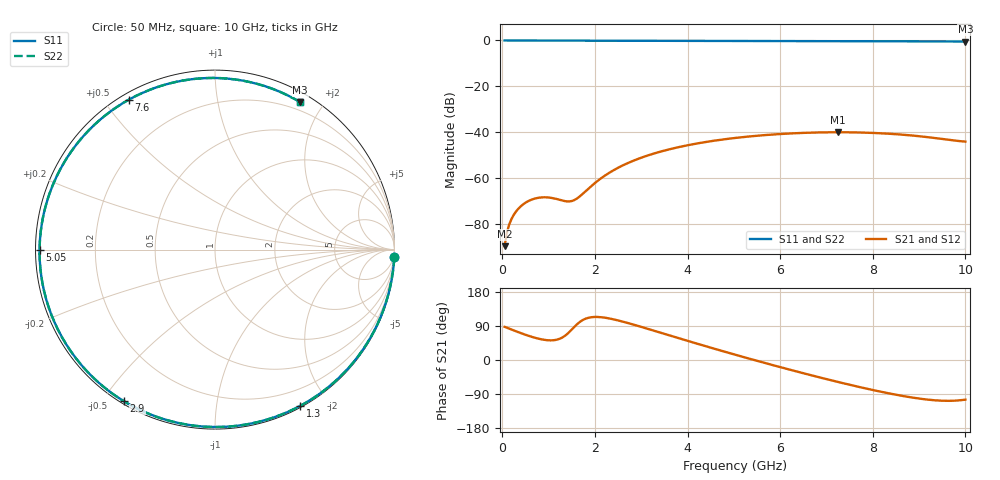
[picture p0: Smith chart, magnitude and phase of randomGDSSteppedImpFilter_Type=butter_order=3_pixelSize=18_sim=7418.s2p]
! freq	dB(S11)	phase(S11)	dB(S12)	phase(S12)
!  dB(S21)	phase(S21)	dB(S22)	phase(S22)
!S-par simulation data
#  GHz  S  DB  R 50
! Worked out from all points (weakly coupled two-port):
!   200 points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, 50 MHz to 10 GHz, reference 50 ohm
!   highest |S21| = -39.91 dB at 7.25 GHz (marker M1); lowest = -89.4 dB at 50 MHz (marker M2)
!   lowest |S11| = -0.5 dB at 10 GHz (marker M3), VSWR 37.99, Z = 5.26 + j86.4 ohm
!   |S11| at or under -10 dB: nowhere
!   |S22| runs from -0.5 to 0.0 dB; largest |S21 - S12| = 0
!   S11 on the Smith chart (normalised r, x): 50 MHz: 0, -46; 1.3 GHz: 0.02, -1.69; 2.9 GHz: 0.01, -0.57; 5.05 GHz: 0.01, -0.00; 7.6 GHz: 0.02, +0.58; 10 GHz: 0.11, +1.73
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0.05  -0.00 -2.5  -89.44 87.6  -89.44 87.6  -0.00 -2.5
0.15  -0.01 -7.5  -79.99 82.7  -79.99 82.7  -0.01 -7.5
0.25  -0.02 -12.4  -75.73 77.9  -75.73 77.9  -0.02 -12.4
0.35  -0.03 -17.2  -73.08 73.3  -73.08 73.3  -0.03 -17.2
0.6  -0.04 -29.3  -69.49 62.5  -69.49 62.5  -0.04 -29.3
0.9  -0.05 -43.4  -68.20 53.3  -68.20 53.3  -0.05 -43.4
1.3  -0.07 -61.3  -69.62 59.6  -69.62 59.6  -0.07 -61.3
1.5  -0.08 -69.8  -69.82 80.4  -69.82 80.4  -0.08 -69.8
1.75  -0.09 -80.0  -66.44 106.3  -66.44 106.3  -0.09 -80.0
2.05  -0.10 -91.6  -61.18 113.6  -61.18 113.6  -0.10 -91.6
2.3  -0.11 -100.7  -57.66 109.9  -57.66 109.9  -0.11 -100.7
2.9  -0.13 -120.9  -51.74 91.0  -51.74 91.0  -0.13 -120.9
3.4  -0.14 -136.2  -48.43 72.7  -48.43 72.7  -0.14 -136.2
4.2  -0.16 -158.3  -44.81 43.3  -44.81 43.3  -0.16 -158.3
5.05  -0.20 -179.8  -42.34 13.3  -42.34 13.3  -0.20 -179.8
5.85  -0.24 161.1  -40.88 -13.8  -40.88 -13.8  -0.23 161.1
6.7  -0.28 141.1  -40.06 -41.2  -40.06 -41.2  -0.28 141.1
7.25  -0.31 128.2  -39.91 -58.0  -39.91 -58.0  -0.31 128.2
7.6  -0.32 119.8  -39.97 -68.2  -39.97 -68.2  -0.32 119.8
8.35  -0.36 101.6  -40.56 -88.1  -40.56 -88.1  -0.36 101.7
9.15  -0.41 81.7  -41.96 -104.1  -41.96 -104.1  -0.41 81.7
10  -0.46 60.0  -43.98 -104.6  -43.98 -104.6  -0.46 60.0
